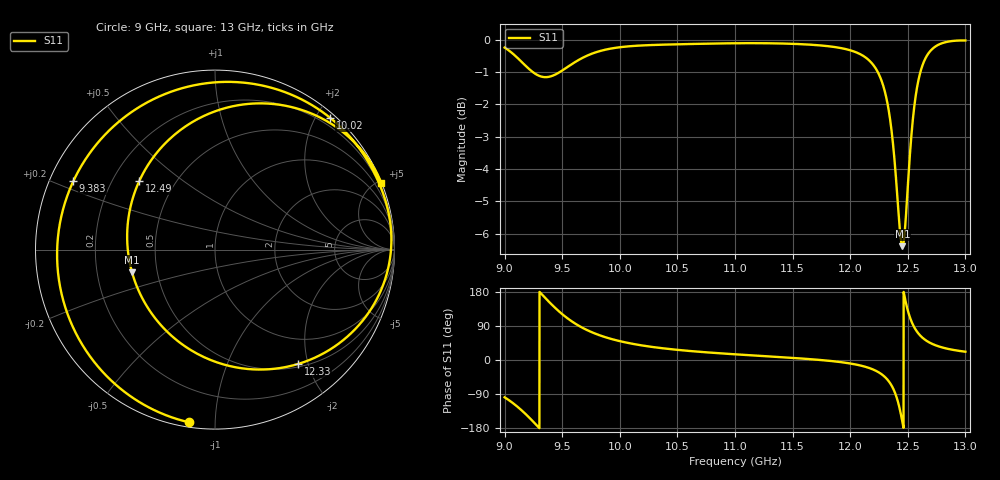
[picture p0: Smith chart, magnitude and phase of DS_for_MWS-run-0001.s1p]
! TOUCHSTONE file generated by CST DESIGN STUDIO
! Date and time: Tue Feb  4 12:42:23 2025
! Project name: C:\Work\MatlabApps\UnitCellOptimizationMatlab\CST\unitcell.cst
! Tree item: Tasks\Sweep1\SPara1\S-Parameters
! Header version: 2024
! Port assignment regex: !\s*Touchstone port\s*([0-9]+)\s*=\s*(CST MWS port|CST DES external port|CST DES block port)\s*(.+)\s* \(\"(.*)\"\)(\s*mode\s*([0-9]+))?.*
! Touchstone port assignment:
! Touchstone port 1 = CST DES external port 1 ("")
# GHz S MA R 50
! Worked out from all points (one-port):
!   4001 points, 9 GHz to 13 GHz, reference 50 ohm
!   lowest |S11| = -6.4 dB at 12.45 GHz (marker M1), VSWR 2.84, Z = 17.9 - j5.88 ohm
!   |S11| at or under -10 dB: nowhere
!   S11 on the Smith chart (normalised r, x): 9 GHz: 0.02, -0.86; 9.383 GHz: 0.07, +0.23; 10.02 GHz: 0.07, +2.21; 12.33 GHz: 0.55, -1.84; 12.49 GHz: 0.31, +0.35; 13 GHz: 0.03, +5.18
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9  0.9731 -98.4
9.114  0.9372 -123.9
9.229  0.8963 -156.6
9.305  0.8791 179.1
9.383  0.8766 154.2
9.5  0.8967 121.0
9.678  0.9384 84.7
9.828  0.9612 64.9
10  0.9743 49.8
10.015  0.975 48.7
10.5  0.9846 26.8
11  0.9883 15.0
11.5  0.9862 5.5
12  0.9638 -9.2
12.211  0.9092 -26.7
12.277  0.8598 -38.6
12.329  0.788 -53.9
12.398  0.6091 -94.0
12.425  0.5238 -122.6
12.454  0.4792 -164.7
12.494  0.5696 137.7
12.5  0.5926 130.8
12.531  0.7105 102.5
12.565  0.8108 81.7
12.617  0.9016 61.7
12.677  0.952 48.0
12.801  0.9889 32.9
13  0.9981 21.9
